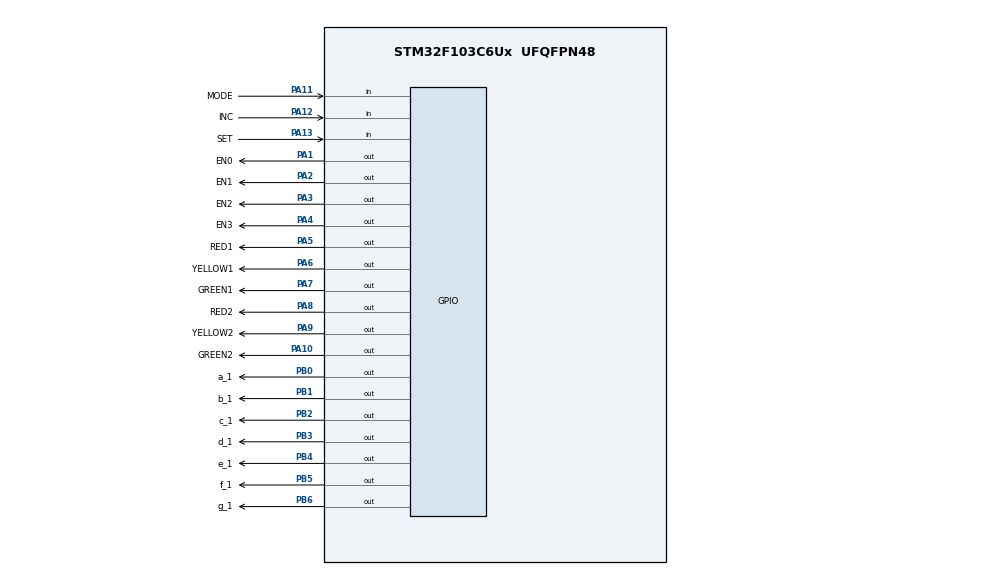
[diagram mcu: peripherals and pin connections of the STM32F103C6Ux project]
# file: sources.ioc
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Mcu.Family=STM32F1
Mcu.Name=STM32F103C6Ux
Mcu.Package=UFQFPN48
NVIC.PriorityGroup=NVIC_PRIORITYGROUP_4
NVIC.TIM2_IRQn=true\:0\:0\:false\:false\:true\:true\:true
PA1.GPIO_Label=EN0
PA1.Signal=GPIO_Output
PA10.GPIO_Label=GREEN2
PA10.Signal=GPIO_Output
PA11.GPIO_Label=MODE
PA11.GPIO_PuPd=GPIO_PULLUP
PA11.Signal=GPIO_Input
PA12.GPIO_Label=INC
PA12.GPIO_PuPd=GPIO_PULLUP
PA12.Signal=GPIO_Input
PA13.GPIO_Label=SET
PA13.GPIO_PuPd=GPIO_PULLUP
PA13.Signal=GPIO_Input
PA2.GPIO_Label=EN1
PA2.Signal=GPIO_Output
PA3.GPIO_Label=EN2
PA3.Signal=GPIO_Output
PA4.GPIO_Label=EN3
PA4.Signal=GPIO_Output
PA5.GPIO_Label=RED1
PA5.Signal=GPIO_Output
PA6.GPIO_Label=YELLOW1
PA6.Signal=GPIO_Output
PA7.GPIO_Label=GREEN1
PA7.Signal=GPIO_Output
PA8.GPIO_Label=RED2
PA8.Signal=GPIO_Output
PA9.GPIO_Label=YELLOW2
PA9.Signal=GPIO_Output
PB0.GPIO_Label=a_1
PB0.Signal=GPIO_Output
PB1.GPIO_Label=b_1
PB1.Signal=GPIO_Output
PB2.GPIO_Label=c_1
PB2.Signal=GPIO_Output
PB3.GPIO_Label=d_1
PB3.Signal=GPIO_Output
PB4.GPIO_Label=e_1
PB4.Signal=GPIO_Output
PB5.GPIO_Label=f_1
PB5.Signal=GPIO_Output
PB6.GPIO_Label=g_1
PB6.Signal=GPIO_Output
ProjectManager.HeapSize=0x200
ProjectManager.StackSize=0x400
ProjectManager.TargetToolchain=STM32CubeIDE
RCC.APB1Freq_Value=8000000
RCC.APB2Freq_Value=8000000
TIM2.Period=9
TIM2.Prescaler=7999
VP_SYS_VS_ND.Mode=No_Debug
VP_TIM2_VS_ClockSourceINT.Mode=Internal
board=custom

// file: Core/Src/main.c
/* USER CODE BEGIN Header */
/**
  ******************************************************************************
  * @file           : main.c
  * @brief          : Main program body
  ******************************************************************************
  * @attention
  *
  * <h2><center>&copy; Copyright (c) 2022 STMicroelectronics.
  * All rights reserved.</center></h2>
  *
  * This software component is licensed by ST under BSD 3-Clause license,
  * the "License"; You may not use this file except in compliance with the
  * License. You may obtain a copy of the License at:
  *                        opensource.org/licenses/BSD-3-Clause
  *
  ******************************************************************************
  */
/* USER CODE END Header */
#include "main.h"

/* USER CODE BEGIN Includes */
#include "timer.h"
#include "button.h"
#include "led.h"
#include "global.h"
#include "mode_control.h"
/* USER CODE END Includes */

TIM_HandleTypeDef htim2;

void SystemClock_Config(void);
static void MX_GPIO_Init(void);
static void MX_TIM2_Init(void);

int main(void)
{

  /* MCU Configuration--------------------------------------------------------*/

  /* Reset of all peripherals, Initializes the Flash interface and the Systick. */
  HAL_Init();

  /* Configure the system clock */
  SystemClock_Config();

  /* Initialize all configured peripherals */
  MX_GPIO_Init();
  MX_TIM2_Init();
  /* USER CODE BEGIN 2 */
  HAL_TIM_Base_Start_IT(& htim2);

  init_led();
  init_data();
  set_seg7_led_timer(100);
  set_Trafic_Timer(duration);
  set_blink_timer(500);
  /* USER CODE END 2 */

  /* Infinite loop */
  /* USER CODE BEGIN WHILE */
  while (1)
  {
	  if (change_mode == 1) {
		  turn_off_all_led();
		  change_mode_state();
		  change_mode = 0;
	  }
	  if (save_all_change == 1) {
		  run_set_mode();
		  save_all_change = 0;
	  }
	  if (mode == NORMAL_MODE) {
		  // TODO run system
		  run_normal_mode();
	  }
	  else if (mode == ADJUST_RED_LED) {
		  // TODO adjust red
		  run_adjust_red_mode();
	  }
	  else if (mode == ADJUST_YELLOW_LED) {
		  // TODO adjust green
		  run_adjust_yellow_mode();
	  }
	  else if (mode == ADJUST_GREEN_LED) {
		  // TODO adjust yellow
		  run_adjust_green_mode();
	  }
    /* USER CODE END WHILE */

  }
}

void SystemClock_Config(void)
{
  RCC_OscInitTypeDef RCC_OscInitStruct = {0};
  RCC_ClkInitTypeDef RCC_ClkInitStruct = {0};

  /** Initializes the RCC Oscillators according to the specified parameters
  * in the RCC_OscInitTypeDef structure.
  */
  RCC_OscInitStruct.OscillatorType = RCC_OSCILLATORTYPE_HSI;
  RCC_OscInitStruct.HSIState = RCC_HSI_ON;
  RCC_OscInitStruct.HSICalibrationValue = RCC_HSICALIBRATION_DEFAULT;
  RCC_OscInitStruct.PLL.PLLState = RCC_PLL_NONE;
  if (HAL_RCC_OscConfig(&RCC_OscInitStruct) != HAL_OK)
  {
    Error_Handler();
  }
  /** Initializes the CPU, AHB and APB buses clocks
  */
  RCC_ClkInitStruct.ClockType = RCC_CLOCKTYPE_HCLK|RCC_CLOCKTYPE_SYSCLK
                              |RCC_CLOCKTYPE_PCLK1|RCC_CLOCKTYPE_PCLK2;
  RCC_ClkInitStruct.SYSCLKSource = RCC_SYSCLKSOURCE_HSI;
  RCC_ClkInitStruct.AHBCLKDivider = RCC_SYSCLK_DIV1;
  RCC_ClkInitStruct.APB1CLKDivider = RCC_HCLK_DIV1;
  RCC_ClkInitStruct.APB2CLKDivider = RCC_HCLK_DIV1;

  if (HAL_RCC_ClockConfig(&RCC_ClkInitStruct, FLASH_LATENCY_0) != HAL_OK)
  {
    Error_Handler();
  }
}

static void MX_TIM2_Init(void)
{

  TIM_ClockConfigTypeDef sClockSourceConfig = {0};
  TIM_MasterConfigTypeDef sMasterConfig = {0};

  htim2.Instance = TIM2;
  htim2.Init.Prescaler = 7999;
  htim2.Init.CounterMode = TIM_COUNTERMODE_UP;
  htim2.Init.Period = 9;
  htim2.Init.ClockDivision = TIM_CLOCKDIVISION_DIV1;
  htim2.Init.AutoReloadPreload = TIM_AUTORELOAD_PRELOAD_DISABLE;
  if (HAL_TIM_Base_Init(&htim2) != HAL_OK)
  {
    Error_Handler();
  }
  sClockSourceConfig.ClockSource = TIM_CLOCKSOURCE_INTERNAL;
  if (HAL_TIM_ConfigClockSource(&htim2, &sClockSourceConfig) != HAL_OK)
  {
    Error_Handler();
  }
  sMasterConfig.MasterOutputTrigger = TIM_TRGO_RESET;
  sMasterConfig.MasterSlaveMode = TIM_MASTERSLAVEMODE_DISABLE;
  if (HAL_TIMEx_MasterConfigSynchronization(&htim2, &sMasterConfig) != HAL_OK)
  {
    Error_Handler();
  }

}

static void MX_GPIO_Init(void)
{
  GPIO_InitTypeDef GPIO_InitStruct = {0};

  /* GPIO Ports Clock Enable */
  __HAL_RCC_GPIOA_CLK_ENABLE();
  __HAL_RCC_GPIOB_CLK_ENABLE();

  /*Configure GPIO pin Output Level */
  HAL_GPIO_WritePin(GPIOA, EN0_Pin|EN1_Pin|EN2_Pin|EN3_Pin
                          |RED1_Pin|YELLOW1_Pin|GREEN1_Pin|RED2_Pin
                          |YELLOW2_Pin|GREEN2_Pin, GPIO_PIN_RESET);

  /*Configure GPIO pin Output Level */
  HAL_GPIO_WritePin(GPIOB, a_1_Pin|b_1_Pin|c_1_Pin|d_1_Pin
                          |e_1_Pin|f_1_Pin|g_1_Pin, GPIO_PIN_RESET);

  /*Configure GPIO pins : EN0_Pin EN1_Pin EN2_Pin EN3_Pin
                           RED1_Pin YELLOW1_Pin GREEN1_Pin RED2_Pin
                           YELLOW2_Pin GREEN2_Pin */
  GPIO_InitStruct.Pin = EN0_Pin|EN1_Pin|EN2_Pin|EN3_Pin
                          |RED1_Pin|YELLOW1_Pin|GREEN1_Pin|RED2_Pin
                          |YELLOW2_Pin|GREEN2_Pin;
  GPIO_InitStruct.Mode = GPIO_MODE_OUTPUT_PP;
  GPIO_InitStruct.Pull = GPIO_NOPULL;
  GPIO_InitStruct.Speed = GPIO_SPEED_FREQ_LOW;
  HAL_GPIO_Init(GPIOA, &GPIO_InitStruct);

  /*Configure GPIO pins : a_1_Pin b_1_Pin c_1_Pin d_1_Pin
                           e_1_Pin f_1_Pin g_1_Pin */
  GPIO_InitStruct.Pin = a_1_Pin|b_1_Pin|c_1_Pin|d_1_Pin
                          |e_1_Pin|f_1_Pin|g_1_Pin;
  GPIO_InitStruct.Mode = GPIO_MODE_OUTPUT_PP;
  GPIO_InitStruct.Pull = GPIO_NOPULL;
  GPIO_InitStruct.Speed = GPIO_SPEED_FREQ_LOW;
  HAL_GPIO_Init(GPIOB, &GPIO_InitStruct);

  /*Configure GPIO pins : MODE_Pin INC_Pin SET_Pin */
  GPIO_InitStruct.Pin = MODE_Pin|INC_Pin|SET_Pin;
  GPIO_InitStruct.Mode = GPIO_MODE_INPUT;
  GPIO_InitStruct.Pull = GPIO_PULLUP;
  HAL_GPIO_Init(GPIOA, &GPIO_InitStruct);

}

/* USER CODE BEGIN 4 */
void HAL_TIM_PeriodElapsedCallback(TIM_HandleTypeDef * htim) {
	Trafic_Timer_Run();
	seg7_led_timer_run();
	blink_timer_run();
	get_mode_input();
	get_inc_input();
	get_set_input();
}

/* USER CODE END 4 */

void Error_Handler(void)
{
  __disable_irq();
  while (1)
  {
  }
}

/************************ (C) COPYRIGHT STMicroelectronics *****END OF FILE****/
